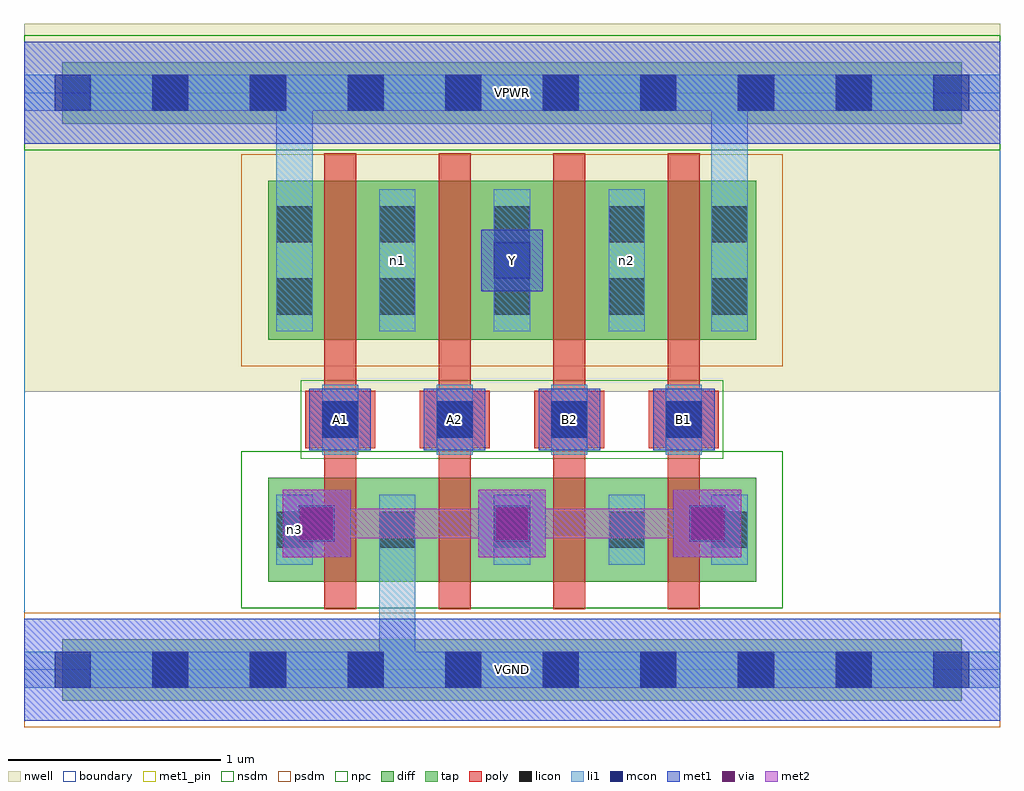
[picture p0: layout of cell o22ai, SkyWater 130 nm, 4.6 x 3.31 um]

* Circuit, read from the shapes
.subckt o22ai A1 A2 B1 B2 VGND VPWR Y n1 n2 n3
XM1 VGND A1 n3 VGND sky130_fd_pr__nfet_01v8 w=0.49 l=0.15
XM2 n3 A2 VGND VGND sky130_fd_pr__nfet_01v8 w=0.49 l=0.15
XM3 n4 B2 n3 VGND sky130_fd_pr__nfet_01v8 w=0.49 l=0.15
XM4 n3 B1 n4 VGND sky130_fd_pr__nfet_01v8 w=0.49 l=0.15
XM5 n1 A1 VPWR VPWR sky130_fd_pr__pfet_01v8 w=0.75 l=0.15
XM6 Y A2 n1 VPWR sky130_fd_pr__pfet_01v8 w=0.75 l=0.15
XM7 n2 B2 Y VPWR sky130_fd_pr__pfet_01v8 w=0.75 l=0.15
XM8 VPWR B1 n2 VPWR sky130_fd_pr__pfet_01v8 w=0.75 l=0.15
.ends

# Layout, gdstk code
import gdstk
lib = gdstk.Library(unit=1e-6, precision=1e-09)
def R(c, l, rs):  # rectangles x0, y0, x1, y1
    for r in rs: c.add(gdstk.rectangle(r[:2], r[2:], *l))
def A(c, l, x, y, w, h, nx, ny, dx, dy):  # array of equal rectangles
    R(c, l, [(x+i*dx, y+j*dy, x+i*dx+w, y+j*dy+h) for i in range(nx) for j in range(ny)])
nwell = (64, 20)
diff = (65, 20)
tap = (65, 44)
poly = (66, 20)
licon = (66, 44)
li1 = (67, 20)
mcon = (67, 44)
met1_pin = (68, 16)
met1 = (68, 20)
via = (68, 44)
met2 = (69, 20)
nsdm = (93, 44)
psdm = (94, 20)
npc = (95, 20)
boundary = (235, 4)

o22ai = lib.new_cell('o22ai')
R(o22ai, nwell, [(0,1.31,4.6,3.045)])
R(o22ai, diff, [(1.15,0.415,3.45,0.905), (1.15,1.555,3.45,2.305)])
R(o22ai, tap, [(0.18,-0.145,4.42,0.145), (0.18,2.575,4.42,2.865)])
A(o22ai, poly, 1.415, 0.285, 0.15, 2.15, 4, 1, 0.54, 0)
A(o22ai, poly, 1.325, 1.045, 0.33, 0.27, 4, 1, 0.54, 0)
A(o22ai, licon, 0.605, -0.085, 0.17, 0.17, 8, 2, 0.46, 2.72)
A(o22ai, licon, 1.675, 0.575, 0.17, 0.17, 3, 2, 0.54, 1.1)
A(o22ai, licon, 1.405, 1.095, 0.17, 0.17, 4, 1, 0.54, 0)
A(o22ai, licon, 1.675, 2.015, 0.17, 0.17, 3, 1, 0.54, 0)
R(o22ai, licon, [(1.19,0.575,1.36,0.745), (3.24,0.575,3.41,0.745), (1.19,1.675,1.36,1.845), (3.24,1.675,3.41,1.845), (1.19,2.015,1.36,2.185), (3.24,2.015,3.41,2.185)])
A(o22ai, li1, 1.675, 0.495, 0.17, 0.33, 3, 1, 0.54, 0)
A(o22ai, li1, 1.405, 1.015, 0.17, 0.33, 4, 1, 0.54, 0)
A(o22ai, li1, 1.675, 1.595, 0.17, 0.67, 3, 1, 0.54, 0)
R(o22ai, li1, [(0,-0.085,4.6,0.085), (1.675,-0.085,1.845,0.825), (1.19,0.495,1.36,0.825), (3.24,0.495,3.41,0.825), (1.19,0.605,1.465,0.775), (3.135,0.605,3.41,0.775), (1.19,1.595,1.36,2.265), (1.19,1.595,1.36,2.805), (3.24,1.595,3.41,2.265), (3.24,1.595,3.41,2.805), (0,2.635,4.6,2.805)])
A(o22ai, mcon, 0.145, -0.085, 0.17, 0.17, 10, 2, 0.46, 2.72)
A(o22ai, mcon, 1.295, 0.605, 0.17, 0.17, 3, 1, 0.92, 0)
A(o22ai, mcon, 1.405, 1.095, 0.17, 0.17, 4, 1, 0.54, 0)
R(o22ai, mcon, [(2.215,1.845,2.385,2.015)])
A(o22ai, met1_pin, 1.345, 1.035, 0.29, 0.29, 4, 1, 0.54, 0)
R(o22ai, met1_pin, [(0,-0.24,4.6,0.24), (2.155,1.785,2.445,2.075), (0,2.48,4.6,2.96)])
A(o22ai, met1, 1.22, 0.53, 0.32, 0.32, 3, 1, 0.92, 0)
A(o22ai, met1, 1.235, 0.545, 0.29, 0.29, 3, 1, 0.92, 0)
A(o22ai, met1, 1.345, 1.035, 0.29, 0.29, 4, 1, 0.54, 0)
R(o22ai, met1, [(0,-0.24,4.6,0.24), (2.155,1.785,2.445,2.075), (0,2.48,4.6,2.96)])
A(o22ai, via, 1.305, 0.615, 0.15, 0.15, 3, 1, 0.92, 0)
A(o22ai, met2, 1.22, 0.53, 0.32, 0.32, 3, 1, 0.92, 0)
R(o22ai, met2, [(1.31,0.62,2.37,0.76), (2.23,0.62,3.29,0.76)])
R(o22ai, nsdm, [(1.025,0.29,3.575,1.03), (0,2.45,4.6,2.99)])
R(o22ai, psdm, [(0,-0.27,4.6,0.27), (1.025,1.43,3.575,2.43)])
R(o22ai, npc, [(1.305,0.995,3.295,1.365)])
R(o22ai, boundary, [(0,0,4.6,2.72)])
o22ai.add(gdstk.Label('n1', (1.76,1.93), layer=67, texttype=5))
o22ai.add(gdstk.Label('n2', (2.84,1.93), layer=67, texttype=5))
o22ai.add(gdstk.Label('n3', (1.275,0.66), layer=67, texttype=5))
o22ai.add(gdstk.Label('A1', (1.49,1.18), layer=68, texttype=5))
o22ai.add(gdstk.Label('A2', (2.03,1.18), layer=68, texttype=5))
o22ai.add(gdstk.Label('B1', (3.11,1.18), layer=68, texttype=5))
o22ai.add(gdstk.Label('B2', (2.57,1.18), layer=68, texttype=5))
o22ai.add(gdstk.Label('Y', (2.3,1.93), layer=68, texttype=5))
o22ai.add(gdstk.Label('VPWR', (2.3,2.72), layer=68, texttype=5))
o22ai.add(gdstk.Label('VGND', (2.3,0), layer=68, texttype=5))
o22ai.add(gdstk.Label('A1', (1.49,1.18), layer=68, texttype=16))
o22ai.add(gdstk.Label('A2', (2.03,1.18), layer=68, texttype=16))
o22ai.add(gdstk.Label('B1', (3.11,1.18), layer=68, texttype=16))
o22ai.add(gdstk.Label('B2', (2.57,1.18), layer=68, texttype=16))
o22ai.add(gdstk.Label('Y', (2.3,1.93), layer=68, texttype=16))
o22ai.add(gdstk.Label('VPWR', (2.3,2.72), layer=68, texttype=16))
o22ai.add(gdstk.Label('VGND', (2.3,0), layer=68, texttype=16))

lib.write_gds('o22ai.gds')
